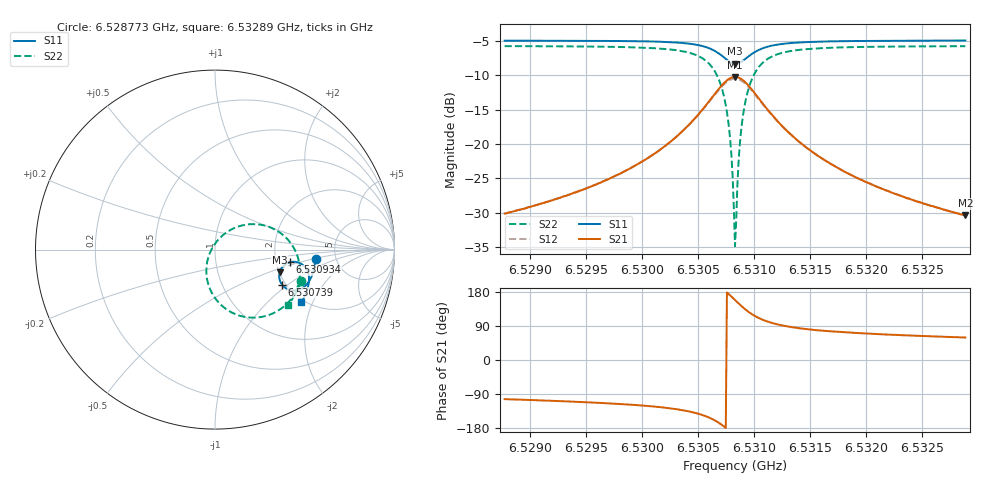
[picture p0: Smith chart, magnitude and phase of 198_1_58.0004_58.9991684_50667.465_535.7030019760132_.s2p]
#  HZ  S  RI  R  50.00
! Rohde & Schwarz Vector Network Analyzer
! Rohde-Schwarz,ZNB20-2Port,1311601062101988,3.16
! Created: UTC 3/21/2024, 12:59:07 AM
! freq[Hz]  re:S11  im:S11  re:S21  im:S21  re:S12  im:S12  re:S22  im:S22
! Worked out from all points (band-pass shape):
!   401 points, 6.528773 GHz to 6.53289 GHz, reference 50 ohm
!   highest |S21| = -10.26 dB at 6.530831 GHz (marker M1); lowest = -30.4 dB at 6.53289 GHz (marker M2)
!   |S21| within 3 dB of the highest: 6.530626 GHz to 6.531038 GHz (411.9 kHz wide, 0.00631 % of centre)
!   lowest |S11| = -8.4 dB at 6.530831 GHz (marker M3), VSWR 2.24, Z = 101 - j29.6 ohm
!   |S11| at or under -10 dB: nowhere
!   |S22| runs from -34.8 to -5.8 dB; largest |S21 - S12| = 0.012
!   S11 on the Smith chart (normalised r, x): 6.528773 GHz: 3.49, -0.51; 6.530739 GHz: 1.91, -0.91; 6.530934 GHz: 2.37, -0.41; 6.53289 GHz: 1.92, -1.66
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6.5287729e9  0.5603 -0.0497  -0.00722 -0.0304  -0.00788 -0.0302  0.4817 -0.1776
6.5294625e9  0.5512 -0.1073  -0.0166 -0.0431  -0.0176 -0.0428  0.4499 -0.2409
6.5301521e9  0.5242 -0.1767  -0.0501 -0.0741  -0.0524 -0.0728  0.3673 -0.3297
6.5303888e9  0.4976 -0.2071  -0.09 -0.0938  -0.0928 -0.0908  0.286 -0.369
6.5305637e9  0.4541 -0.2271  -0.1583 -0.1002  -0.1607 -0.0937  0.1597 -0.3737
6.5306667e9  0.409 -0.2224  -0.228 -0.0738  -0.2273 -0.0642  0.0428 -0.3164
6.5307387e9  0.3737 -0.1953  -0.2794 -0.0153  -0.2735 -0.0051  -0.0325 -0.2078
6.5307799e9  0.3603 -0.1675  -0.2953 0.0379  -0.2862 0.0462  -0.0483 -0.1169
6.5307902e9  0.3586 -0.1595  -0.2962 0.0528  -0.2867 0.0602  -0.0472 -0.0923
6.530821e9  0.359 -0.1342  -0.2904 0.0986  -0.2795 0.1032  -0.0286 -0.0187
6.5308313e9  0.3609 -0.1257  -0.2854 0.1133  -0.2743 0.117  -0.0175 0.0046
6.5308416e9  0.3636 -0.1176  -0.2791 0.1276  -0.2678 0.1303  -0.00409 0.0267
6.5308519e9  0.3672 -0.1098  -0.2711 0.1411  -0.2602 0.1429  0.0111 0.0472
6.5308725e9  0.3768 -0.0957  -0.252 0.1653  -0.2419 0.1651  0.0469 0.0829
6.5308931e9  0.3887 -0.0845  -0.2296 0.1844  -0.2204 0.1831  0.0873 0.1102
6.5309342e9  0.4154 -0.0708  -0.1808 0.2075  -0.1739 0.2046  0.1723 0.139
6.5310063e9  0.4585 -0.0702  -0.1055 0.2097  -0.1019 0.2066  0.2988 0.1273
6.5311092e9  0.4963 -0.0919  -0.0406 0.1787  -0.0388 0.177  0.4032 0.0587
6.5312636e9  0.5184 -0.1278  -0.00149 0.1324  -8e-05 0.1315  0.4598 -0.0369
6.5315209e9  0.5241 -0.1713  0.0155 0.0864  0.0165 0.0861  0.4732 -0.1343
6.5322105e9  0.5068 -0.2428  0.0177 0.0415  0.0183 0.0412  0.4437 -0.2502
6.5328897e9  0.4817 -0.2944  0.0154 0.026  0.0159 0.0259  0.4085 -0.3101
